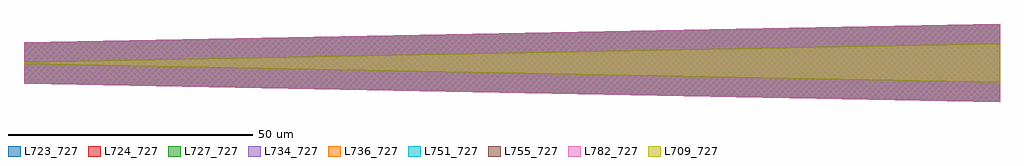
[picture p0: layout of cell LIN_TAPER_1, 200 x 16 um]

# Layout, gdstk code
import gdstk
lib = gdstk.Library(unit=1e-6, precision=1e-09)
def P(c, l, *ps):  # polygons
    for p in ps: c.add(gdstk.Polygon(p, *l))
L709_727 = (709, 727)
L723_727 = (723, 727)
L724_727 = (724, 727)
L727_727 = (727, 727)
L734_727 = (734, 727)
L736_727 = (736, 727)
L751_727 = (751, 727)
L755_727 = (755, 727)
L782_727 = (782, 727)

lin_taper_1 = lib.new_cell('LIN_TAPER_1')
P(lin_taper_1, L709_727, [(-200,-0.225),(-200,0.225),(0,4),(0,-4)])
P(lin_taper_1, L723_727, [(-200,-4.225),(-200,4.225),(0,8),(0,-8)])
P(lin_taper_1, L724_727, [(-200,-4.225),(-200,4.225),(0,8),(0,-8)])
P(lin_taper_1, L727_727, [(-200,-4.225),(-200,4.225),(0,8),(0,-8)])
P(lin_taper_1, L734_727, [(-200,-4.225),(-200,4.225),(0,8),(0,-8)])
P(lin_taper_1, L736_727, [(-200,-4.225),(-200,4.225),(0,8),(0,-8)])
P(lin_taper_1, L751_727, [(-200,-4.225),(-200,4.225),(0,8),(0,-8)])
P(lin_taper_1, L755_727, [(-200,-4.225),(-200,4.225),(0,8),(0,-8)])
P(lin_taper_1, L782_727, [(-200,-4.225),(-200,4.225),(0,8),(0,-8)])

lib.write_gds('LIN_TAPER_1.gds')
